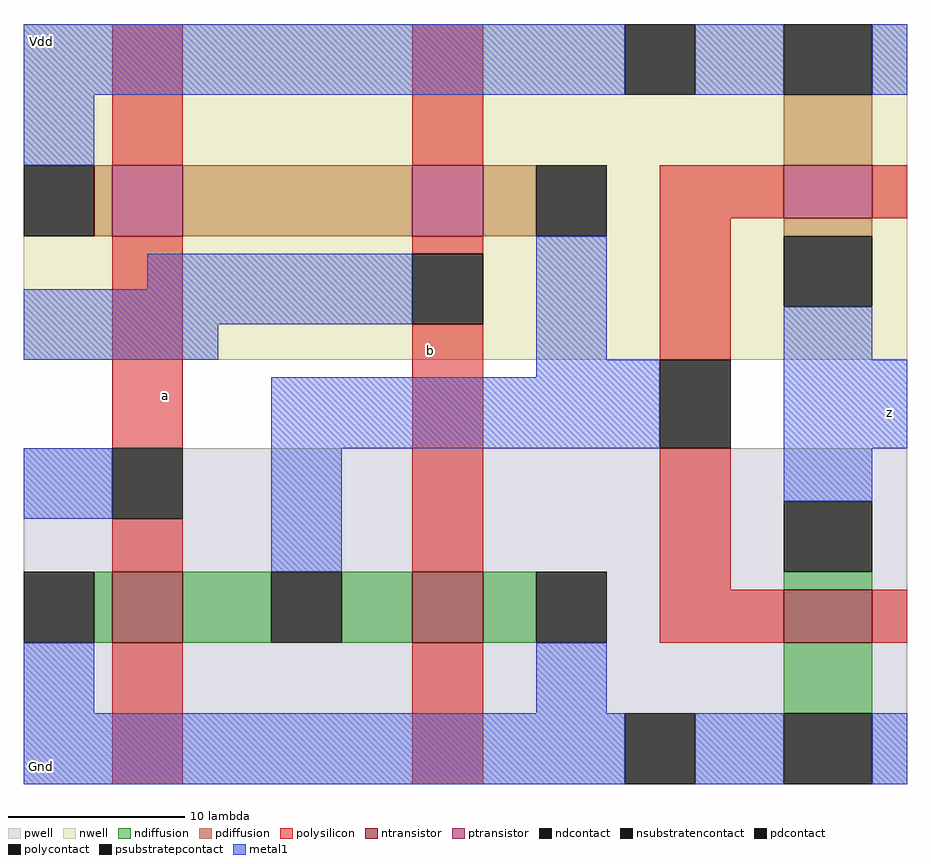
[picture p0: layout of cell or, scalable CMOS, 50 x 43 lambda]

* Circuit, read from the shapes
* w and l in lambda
.subckt or Gnd Vdd a b z
M1 n1 a Gnd Gnd nfet w=4 l=4
M2 Gnd b n1 Gnd nfet w=4 l=4
M3 z n1 Gnd Gnd nfet w=5 l=3
M4 n2 a Vdd Vdd pfet w=4 l=4
M5 n1 b n2 Vdd pfet w=4 l=4
M6 Vdd n1 z Vdd pfet w=5 l=3
.ends

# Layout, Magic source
magic
tech scmos
<< pwell >>
rect -25 -19 25 0
<< nwell >>
rect -25 5 25 24
<< polysilicon >>
rect -20 16 -16 24
rect -3 16 1 24
rect 11 13 18 16
rect 23 13 25 16
rect -20 0 -16 12
rect -20 -7 -16 -4
rect -3 11 1 12
rect -3 -7 1 7
rect 11 5 15 13
rect 11 -8 15 0
rect 11 -11 18 -8
rect 23 -11 25 -8
rect -20 -19 -16 -11
rect -3 -19 1 -11
<< ndiffusion >>
rect -21 -11 -20 -7
rect -16 -11 -11 -7
rect -7 -11 -3 -7
rect 1 -11 4 -7
rect 18 -8 23 -7
rect 18 -15 23 -11
<< pdiffusion >>
rect 18 16 23 20
rect -21 12 -20 16
rect -16 12 -3 16
rect 1 12 4 16
rect 18 12 23 13
<< metal1 >>
rect -25 20 9 24
rect 13 20 18 24
rect 23 20 25 24
rect -25 16 -21 20
rect -18 9 -3 11
rect -25 7 -3 9
rect -25 5 -14 7
rect 4 5 8 12
rect 18 5 23 8
rect 4 4 11 5
rect -11 0 11 4
rect 18 0 25 5
rect -25 -4 -20 0
rect -11 -7 -7 0
rect 18 -3 23 0
rect -25 -15 -21 -11
rect 4 -15 8 -11
rect -25 -19 9 -15
rect 13 -19 18 -15
rect 23 -19 25 -15
<< ntransistor >>
rect -20 -11 -16 -7
rect -3 -11 1 -7
rect 18 -11 23 -8
<< ptransistor >>
rect -20 12 -16 16
rect -3 12 1 16
rect 18 13 23 16
<< polycontact >>
rect -20 -4 -16 0
rect -3 7 1 11
rect 11 0 15 5
<< ndcontact >>
rect -25 -11 -21 -7
rect -11 -11 -7 -7
rect 4 -11 8 -7
rect 18 -7 23 -3
rect 18 -19 23 -15
<< pdcontact >>
rect 18 20 23 24
rect -25 12 -21 16
rect 4 12 8 16
rect 18 8 23 12
<< psubstratepcontact >>
rect 9 -19 13 -15
<< nsubstratencontact >>
rect 9 20 13 24
<< labels >>
rlabel metal1 24 2 24 2 7 z
rlabel polysilicon -2 5 -2 6 5 b
rlabel polysilicon -17 3 -17 3 5 a
rlabel metal1 -24 23 -24 23 4 Vdd
rlabel metal1 -24 -18 -24 -18 2 Gnd
<< end >>
